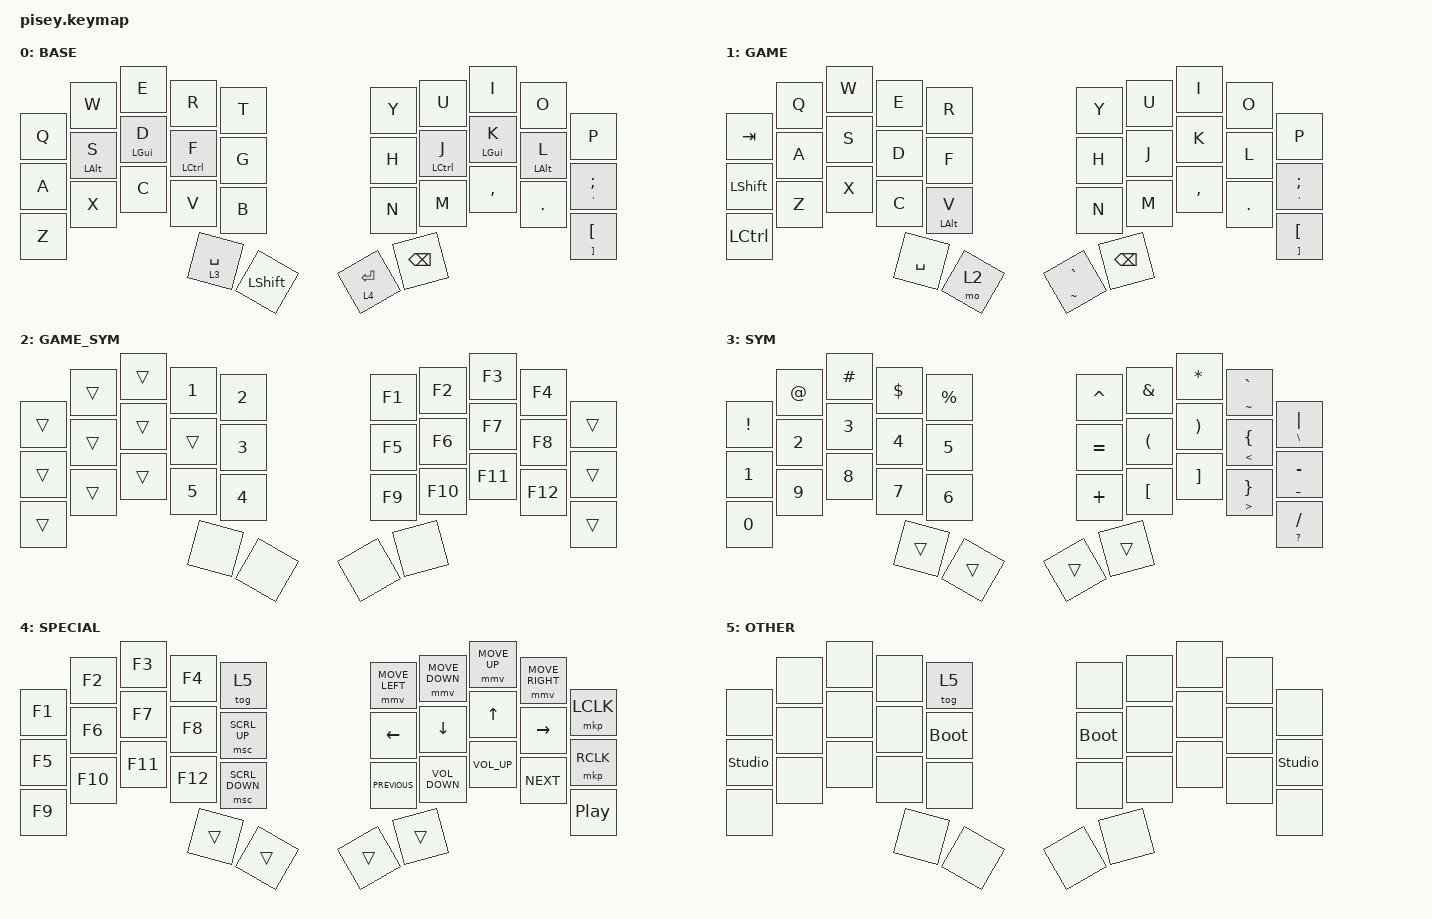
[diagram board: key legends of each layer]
#include <behaviors.dtsi>
#include <dt-bindings/zmk/keys.h>
#include <dt-bindings/zmk/pointing.h>

&lt {
    flavor = "balanced";
    quick-tap-ms = <175>;
};

/ {
    behaviors {
        hm_l: homerow_mods_left {
            compatible = "zmk,behavior-hold-tap";
            label = "Homerow_Mods_Left";
            bindings = <&kp>, <&kp>;

            #binding-cells = <2>;
            tapping-term-ms = <280>;
            require-prior-idle-ms = <150>;
            flavor = "tap-preferred";
            hold-trigger-on-release;
            quick-tap-ms = <175>;
            hold-trigger-key-positions = <5 6 7 8 9 15 16 17 18 19 25 26 27 28 29 32 33>;
        };

        ht: my_hold_tap {
            compatible = "zmk,behavior-hold-tap";
            label = "My_Hold_Tap";
            bindings = <&kp>, <&kp>;

            #binding-cells = <2>;
            tapping-term-ms = <150>;
            require-prior-idle-ms = <130>;
            flavor = "tap-preferred";
        };

        hm_r: homerow_mods_right {
            compatible = "zmk,behavior-hold-tap";
            label = "Homerow_Mods_Right";
            bindings = <&kp>, <&kp>;

            #binding-cells = <2>;
            tapping-term-ms = <280>;
            require-prior-idle-ms = <150>;
            flavor = "tap-preferred";
            hold-trigger-on-release;
            quick-tap-ms = <175>;
            hold-trigger-key-positions = <0 1 2 3 4 10 11 12 13 14 20 21 22 23 24 30 31>;
        };

        l2: l2 {
            compatible = "zmk,behavior-hold-tap";
            label = "L2";
            bindings = <&mo>, <&kp>;

            #binding-cells = <2>;
            tapping-term-ms = <200>;
            flavor = "balanced";
            quick-tap-ms = <175>;
        };
    };

    combos {
        compatible = "zmk,combos";

        esc {
            bindings = <&kp ESC>;
            key-positions = <1 0>;
            layers = <0 1>;
            require-prior-idle-ms = <100>;
        };

        tab {
            bindings = <&kp TAB>;
            key-positions = <11 10>;
            layers = <0>;
            require-prior-idle-ms = <100>;
        };

        game_m {
            bindings = <&kp M>;
            key-positions = <4 24>;
            layers = <1>;
        };

        game_g {
            bindings = <&kp G>;
            key-positions = <14 4>;
            layers = <1>;
        };

        game_b {
            bindings = <&kp B>;
            key-positions = <14 24>;
            layers = <1>;
        };

        gaming {
            bindings = <&tog 1>;
            key-positions = <32 31>;
            layers = <0 1>;
        };

        delete {
            bindings = <&kp DELETE>;
            key-positions = <21 20>;
            layers = <0>;
        };
    };

    keymap {
        compatible = "zmk,keymap";

        BASE {
            bindings = <
&kp Q  &kp W             &kp E             &kp R                 &kp T           &kp Y        &kp U                 &kp I             &kp O             &kp P
&kp A  &hm_l LEFT_ALT S  &hm_l LEFT_GUI D  &hm_l LEFT_CONTROL F  &kp G           &kp H        &hm_r LEFT_CONTROL J  &hm_r LEFT_GUI K  &hm_r LEFT_ALT L  &ht SQT SEMICOLON
&kp Z  &kp X             &kp C             &kp V                 &kp B           &kp N        &kp M                 &kp COMMA         &kp PERIOD        &ht RIGHT_BRACKET LEFT_BRACKET
                                           &l2 3 SPACE           &kp LEFT_SHIFT  &lt 4 ENTER  &kp BACKSPACE
            >;
        };

        GAME {
            bindings = <
&kp TAB           &kp Q  &kp W  &kp E      &kp R             &kp Y            &kp U          &kp I      &kp O       &kp P
&kp LEFT_SHIFT    &kp A  &kp S  &kp D      &kp F             &kp H            &kp J          &kp K      &kp L       &ht SQT SEMICOLON
&kp LEFT_CONTROL  &kp Z  &kp X  &kp C      &hm_l LEFT_ALT V  &kp N            &kp M          &kp COMMA  &kp PERIOD  &ht RIGHT_BRACKET LEFT_BRACKET
                                &kp SPACE  &mo 2             &ht TILDE GRAVE  &kp BACKSPACE
            >;
        };

        GAME_SYM {
            bindings = <
&trans  &trans  &trans  &kp NUMBER_1  &kp NUMBER_2  &kp F1  &kp F2   &kp F3   &kp F4   &trans
&trans  &trans  &trans  &trans        &kp NUMBER_3  &kp F5  &kp F6   &kp F7   &kp F8   &trans
&trans  &trans  &trans  &kp N5        &kp NUMBER_4  &kp F9  &kp F10  &kp F11  &kp F12  &trans
                        &none         &none         &none   &none
            >;
        };

        SYM {
            bindings = <
&kp EXCLAMATION  &kp AT_SIGN   &kp HASH      &kp DOLLAR    &kp PERCENT   &kp CARET  &kp AMPERSAND         &kp ASTERISK           &ht TILDE GRAVE               &ht BACKSLASH PIPE
&kp NUMBER_1     &kp NUMBER_2  &kp NUMBER_3  &kp NUMBER_4  &kp NUMBER_5  &kp EQUAL  &kp LEFT_PARENTHESIS  &kp RIGHT_PARENTHESIS  &ht LESS_THAN LEFT_BRACE      &ht UNDERSCORE MINUS
&kp NUMBER_0     &kp NUMBER_9  &kp NUMBER_8  &kp NUMBER_7  &kp NUMBER_6  &kp PLUS   &kp LEFT_BRACKET      &kp RIGHT_BRACKET      &ht GREATER_THAN RIGHT_BRACE  &ht QMARK FSLH
                                             &trans        &trans        &trans     &trans
            >;
        };

        SPECIAL {
            bindings = <
&kp F1  &kp F2   &kp F3   &kp F4   &tog 5          &mmv MOVE_LEFT  &mmv MOVE_DOWN     &mmv MOVE_UP     &mmv MOVE_RIGHT  &mkp LCLK
&kp F5  &kp F6   &kp F7   &kp F8   &msc SCRL_UP    &kp LEFT_ARROW  &kp DOWN_ARROW     &kp UP_ARROW     &kp RIGHT_ARROW  &mkp RCLK
&kp F9  &kp F10  &kp F11  &kp F12  &msc SCRL_DOWN  &kp C_PREVIOUS  &kp C_VOLUME_DOWN  &kp C_VOLUME_UP  &kp C_NEXT       &kp C_PLAY_PAUSE
                          &trans   &trans          &trans          &trans
            >;
        };

        OTHER {
            bindings = <
&none           &none  &none  &none  &tog 5       &none        &none  &none  &none  &none
&studio_unlock  &none  &none  &none  &bootloader  &bootloader  &none  &none  &none  &studio_unlock
&none           &none  &none  &none  &none        &none        &none  &none  &none  &none
                              &none  &none        &none        &none
            >;
        };
    };
};
